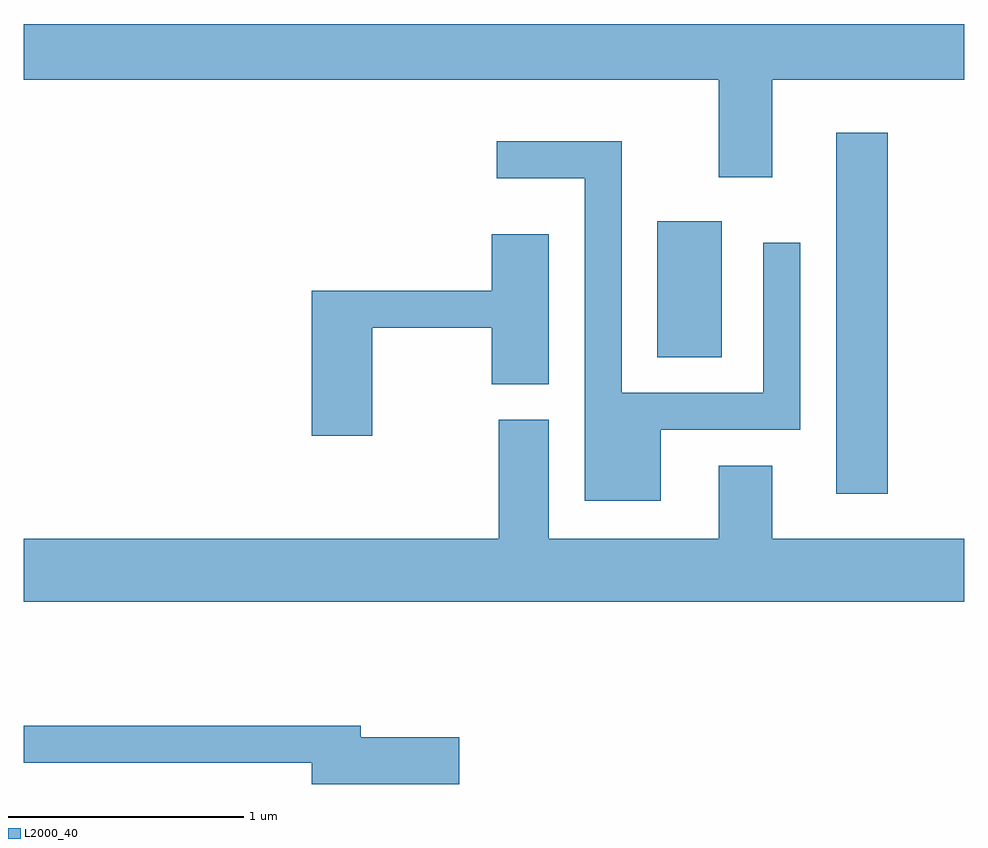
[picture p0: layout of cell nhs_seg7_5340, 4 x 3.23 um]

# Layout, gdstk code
import gdstk
lib = gdstk.Library(unit=1e-6, precision=1e-09)
def R(c, l, rs):  # rectangles x0, y0, x1, y1
    for r in rs: c.add(gdstk.rectangle(r[:2], r[2:], *l))
def P(c, l, *ps):  # polygons
    for p in ps: c.add(gdstk.Polygon(p, *l))
L2000_40 = (2000, 40)

nhs_seg7_5340 = lib.new_cell('nhs_seg7_5340')
R(nhs_seg7_5340, L2000_40, [(351.066,1790.256,351.284,1791.789), (350.306,1790.836,350.579,1791.414)])
P(nhs_seg7_5340, L2000_40, [(347.611,1792.016),(350.566,1792.016),(350.566,1791.601),(350.794,1791.601),(350.794,1792.016),(351.611,1792.016),(351.611,1792.252),(347.611,1792.252)],
  [(350.319,1790.526),(350.914,1790.526),(350.914,1791.323),(350.756,1791.323),(350.756,1790.684),(350.154,1790.684),(350.154,1791.754),(349.623,1791.754),(349.623,1791.596),(349.996,1791.596),(349.996,1790.226),(350.319,1790.226)],
  [(349.094,1790.961),(349.601,1790.961),(349.601,1790.721),(349.844,1790.721),(349.844,1791.359),(349.601,1791.359),(349.601,1791.119),(348.836,1791.119),(348.836,1790.501),(349.094,1790.501)],
  [(351.611,1790.064),(350.794,1790.064),(350.794,1790.374),(350.566,1790.374),(350.566,1790.064),(349.844,1790.064),(349.844,1790.569),(349.631,1790.569),(349.631,1790.064),(347.611,1790.064),(347.611,1789.796),(351.611,1789.796)],
  [(349.464,1789.219),(349.044,1789.219),(349.044,1789.269),(347.611,1789.269),(347.611,1789.111),(348.836,1789.111),(348.836,1789.021),(349.464,1789.021)])

lib.write_gds('nhs_seg7_5340.gds')
